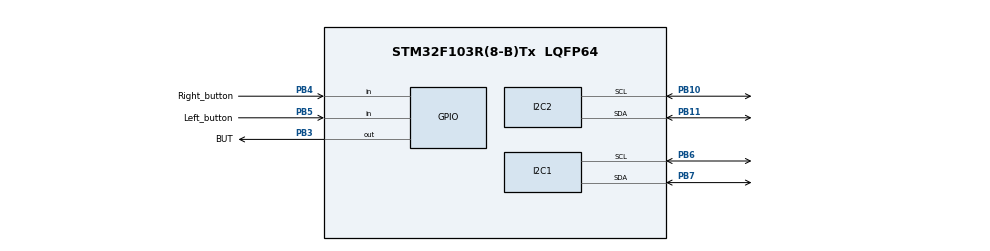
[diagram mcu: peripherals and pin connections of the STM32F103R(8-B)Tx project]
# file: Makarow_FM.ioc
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I2C1.I2C_Mode=I2C_Fast
I2C2.I2C_Mode=I2C_Fast
Mcu.Family=STM32F1
Mcu.Name=STM32F103R(8-B)Tx
Mcu.Package=LQFP64
NVIC.PriorityGroup=NVIC_PRIORITYGROUP_4
PB10.Mode=I2C
PB10.Signal=I2C2_SCL
PB11.Mode=I2C
PB11.Signal=I2C2_SDA
PB3.GPIO_Label=BUT
PB3.GPIO_ModeDefaultOutputPP=GPIO_MODE_OUTPUT_PP
PB3.GPIO_PuPd=GPIO_NOPULL
PB3.PinState=GPIO_PIN_SET
PB3.Signal=GPIO_Output
PB4.GPIO_Label=Right_button
PB4.GPIO_PuPd=GPIO_PULLDOWN
PB4.Signal=GPIO_Input
PB5.GPIO_Label=Left_button
PB5.GPIO_PuPd=GPIO_PULLDOWN
PB5.Signal=GPIO_Input
PB6.Mode=I2C
PB6.Signal=I2C1_SCL
PB7.Mode=I2C
PB7.Signal=I2C1_SDA
ProjectManager.HeapSize=0x200
ProjectManager.StackSize=0x400
ProjectManager.TargetToolchain=STM32CubeIDE
RCC.APB1Freq_Value=8000000
RCC.APB2Freq_Value=8000000
RTC.Format=RTC_FORMAT_BIN
VP_RTC_VS_RTC_Activate.Mode=RTC_Enabled
VP_RTC_VS_RTC_Calendar.Mode=RTC_Calendar
VP_SYS_VS_ND.Mode=No_Debug
board=custom

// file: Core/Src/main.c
/* USER CODE BEGIN Header */
/**
  ******************************************************************************
  * @file           : main.c
  * @brief          : Main program body
  ******************************************************************************
  * @attention
  *
  * Copyright (c) 2023 STMicroelectronics.
  * All rights reserved.
  *
  * This software is licensed under terms that can be found in the LICENSE file
  * in the root directory of this software component.
  * If no LICENSE file comes with this software, it is provided AS-IS.
  *
  ******************************************************************************
  */
/* USER CODE END Header */
#include "main.h"

/* USER CODE BEGIN Includes */
#include "Oled1306.h"
/* USER CODE END Includes */

/* USER CODE BEGIN PD */
#define TEA_ADDR (0x60 << 1)
/* USER CODE END PD */

I2C_HandleTypeDef hi2c1;
I2C_HandleTypeDef hi2c2;

RTC_HandleTypeDef hrtc;

/* USER CODE BEGIN PV */
float f = 87.5;
char arr[5]={0,0,0xB0,0x10,0x00};
void setFreq(){
	unsigned int frequencyB = 4 * (f * 1000000 + 225000) / 32768;
	uint8_t data_arr[5];
		data_arr[0] = frequencyB >> 8;
		data_arr[1] = frequencyB & 0XFF;
		data_arr[2] = 0xB0;
		data_arr[3] = 0x10;
		data_arr[4] = 0x00;
		HAL_I2C_Master_Transmit(&hi2c1, TEA_ADDR, data_arr, sizeof(data_arr),100);
    }
/* USER CODE END PV */

void SystemClock_Config(void);
static void MX_GPIO_Init(void);
static void MX_I2C1_Init(void);
static void MX_I2C2_Init(void);
static void MX_RTC_Init(void);

int main(void)
{

  /* MCU Configuration--------------------------------------------------------*/

  /* Reset of all peripherals, Initializes the Flash interface and the Systick. */
  HAL_Init();

  /* Configure the system clock */
  SystemClock_Config();

  /* Initialize all configured peripherals */
  MX_GPIO_Init();
  MX_I2C1_Init();
  MX_I2C2_Init();
  MX_RTC_Init();
  /* USER CODE BEGIN 2 */
  HAL_Delay(10);
  OLED_init();
  int gg = f * 10;
  LCD_Clear();
    LCD_Goto(0, 0);
    OLED_num_to_str(gg/10, 3);
    OLED_string(".");
    OLED_num_to_str(gg%10, 1);
    setFreq();
    HAL_GPIO_WritePin(BUT_GPIO_Port, BUT_Pin, SET);
  /* USER CODE END 2 */

  /* Infinite loop */
  /* USER CODE BEGIN WHILE */
  while (1)
  {

	  if(HAL_GPIO_ReadPin(Left_button_GPIO_Port, Left_button_Pin) == GPIO_PIN_SET)
	  {
		  f+=0.1;
		  setFreq();
		  int gg = f * 10;
		  LCD_Clear();
		  LCD_Goto(0, 0);
		  OLED_num_to_str(gg/10, 3);
		  OLED_string(".");
		  OLED_num_to_str(gg%10, 1);
		  HAL_Delay(100);
	  }

	  if(!HAL_GPIO_ReadPin(Right_button_GPIO_Port, Right_button_Pin) == GPIO_PIN_SET)
	  {
		  f-=0.1;
		  setFreq();
		  int gg = f * 10;
		  LCD_Clear();
		  LCD_Goto(0, 0);
		  OLED_num_to_str(gg/10, 3);
		  OLED_string(".");
		  OLED_num_to_str(gg%10, 1);
		  HAL_Delay(100);
	  }

    /* USER CODE END WHILE */

  }
}

void SystemClock_Config(void)
{
  RCC_OscInitTypeDef RCC_OscInitStruct = {0};
  RCC_ClkInitTypeDef RCC_ClkInitStruct = {0};
  RCC_PeriphCLKInitTypeDef PeriphClkInit = {0};

  /** Initializes the RCC Oscillators according to the specified parameters
  * in the RCC_OscInitTypeDef structure.
  */
  RCC_OscInitStruct.OscillatorType = RCC_OSCILLATORTYPE_HSI|RCC_OSCILLATORTYPE_LSI;
  RCC_OscInitStruct.HSIState = RCC_HSI_ON;
  RCC_OscInitStruct.HSICalibrationValue = RCC_HSICALIBRATION_DEFAULT;
  RCC_OscInitStruct.LSIState = RCC_LSI_ON;
  RCC_OscInitStruct.PLL.PLLState = RCC_PLL_NONE;
  if (HAL_RCC_OscConfig(&RCC_OscInitStruct) != HAL_OK)
  {
    Error_Handler();
  }

  /** Initializes the CPU, AHB and APB buses clocks
  */
  RCC_ClkInitStruct.ClockType = RCC_CLOCKTYPE_HCLK|RCC_CLOCKTYPE_SYSCLK
                              |RCC_CLOCKTYPE_PCLK1|RCC_CLOCKTYPE_PCLK2;
  RCC_ClkInitStruct.SYSCLKSource = RCC_SYSCLKSOURCE_HSI;
  RCC_ClkInitStruct.AHBCLKDivider = RCC_SYSCLK_DIV1;
  RCC_ClkInitStruct.APB1CLKDivider = RCC_HCLK_DIV1;
  RCC_ClkInitStruct.APB2CLKDivider = RCC_HCLK_DIV1;

  if (HAL_RCC_ClockConfig(&RCC_ClkInitStruct, FLASH_LATENCY_0) != HAL_OK)
  {
    Error_Handler();
  }
  PeriphClkInit.PeriphClockSelection = RCC_PERIPHCLK_RTC;
  PeriphClkInit.RTCClockSelection = RCC_RTCCLKSOURCE_LSI;
  if (HAL_RCCEx_PeriphCLKConfig(&PeriphClkInit) != HAL_OK)
  {
    Error_Handler();
  }
}

static void MX_I2C1_Init(void)
{

  hi2c1.Instance = I2C1;
  hi2c1.Init.ClockSpeed = 400000;
  hi2c1.Init.DutyCycle = I2C_DUTYCYCLE_2;
  hi2c1.Init.OwnAddress1 = 0;
  hi2c1.Init.AddressingMode = I2C_ADDRESSINGMODE_7BIT;
  hi2c1.Init.DualAddressMode = I2C_DUALADDRESS_DISABLE;
  hi2c1.Init.OwnAddress2 = 0;
  hi2c1.Init.GeneralCallMode = I2C_GENERALCALL_DISABLE;
  hi2c1.Init.NoStretchMode = I2C_NOSTRETCH_DISABLE;
  if (HAL_I2C_Init(&hi2c1) != HAL_OK)
  {
    Error_Handler();
  }

}

static void MX_I2C2_Init(void)
{

  hi2c2.Instance = I2C2;
  hi2c2.Init.ClockSpeed = 400000;
  hi2c2.Init.DutyCycle = I2C_DUTYCYCLE_2;
  hi2c2.Init.OwnAddress1 = 0;
  hi2c2.Init.AddressingMode = I2C_ADDRESSINGMODE_7BIT;
  hi2c2.Init.DualAddressMode = I2C_DUALADDRESS_DISABLE;
  hi2c2.Init.OwnAddress2 = 0;
  hi2c2.Init.GeneralCallMode = I2C_GENERALCALL_DISABLE;
  hi2c2.Init.NoStretchMode = I2C_NOSTRETCH_DISABLE;
  if (HAL_I2C_Init(&hi2c2) != HAL_OK)
  {
    Error_Handler();
  }

}

static void MX_RTC_Init(void)
{

  RTC_TimeTypeDef sTime = {0};
  RTC_DateTypeDef DateToUpdate = {0};

  /** Initialize RTC Only
  */
  hrtc.Instance = RTC;
  hrtc.Init.AsynchPrediv = RTC_AUTO_1_SECOND;
  hrtc.Init.OutPut = RTC_OUTPUTSOURCE_ALARM;
  if (HAL_RTC_Init(&hrtc) != HAL_OK)
  {
    Error_Handler();
  }

  /** Initialize RTC and set the Time and Date
  */
  sTime.Hours = 0;
  sTime.Minutes = 0;
  sTime.Seconds = 0;

  if (HAL_RTC_SetTime(&hrtc, &sTime, RTC_FORMAT_BIN) != HAL_OK)
  {
    Error_Handler();
  }
  DateToUpdate.WeekDay = RTC_WEEKDAY_MONDAY;
  DateToUpdate.Month = RTC_MONTH_JANUARY;
  DateToUpdate.Date = 1;
  DateToUpdate.Year = 0;

  if (HAL_RTC_SetDate(&hrtc, &DateToUpdate, RTC_FORMAT_BIN) != HAL_OK)
  {
    Error_Handler();
  }

}

static void MX_GPIO_Init(void)
{
  GPIO_InitTypeDef GPIO_InitStruct = {0};

  /* GPIO Ports Clock Enable */
  __HAL_RCC_GPIOB_CLK_ENABLE();

  /*Configure GPIO pin Output Level */
  HAL_GPIO_WritePin(BUT_GPIO_Port, BUT_Pin, GPIO_PIN_SET);

  /*Configure GPIO pin : BUT_Pin */
  GPIO_InitStruct.Pin = BUT_Pin;
  GPIO_InitStruct.Mode = GPIO_MODE_OUTPUT_PP;
  GPIO_InitStruct.Pull = GPIO_NOPULL;
  GPIO_InitStruct.Speed = GPIO_SPEED_FREQ_LOW;
  HAL_GPIO_Init(BUT_GPIO_Port, &GPIO_InitStruct);

  /*Configure GPIO pins : Right_button_Pin Left_button_Pin */
  GPIO_InitStruct.Pin = Right_button_Pin|Left_button_Pin;
  GPIO_InitStruct.Mode = GPIO_MODE_INPUT;
  GPIO_InitStruct.Pull = GPIO_PULLDOWN;
  HAL_GPIO_Init(GPIOB, &GPIO_InitStruct);

}

void Error_Handler(void)
{
  __disable_irq();
  while (1)
  {
  }
}
